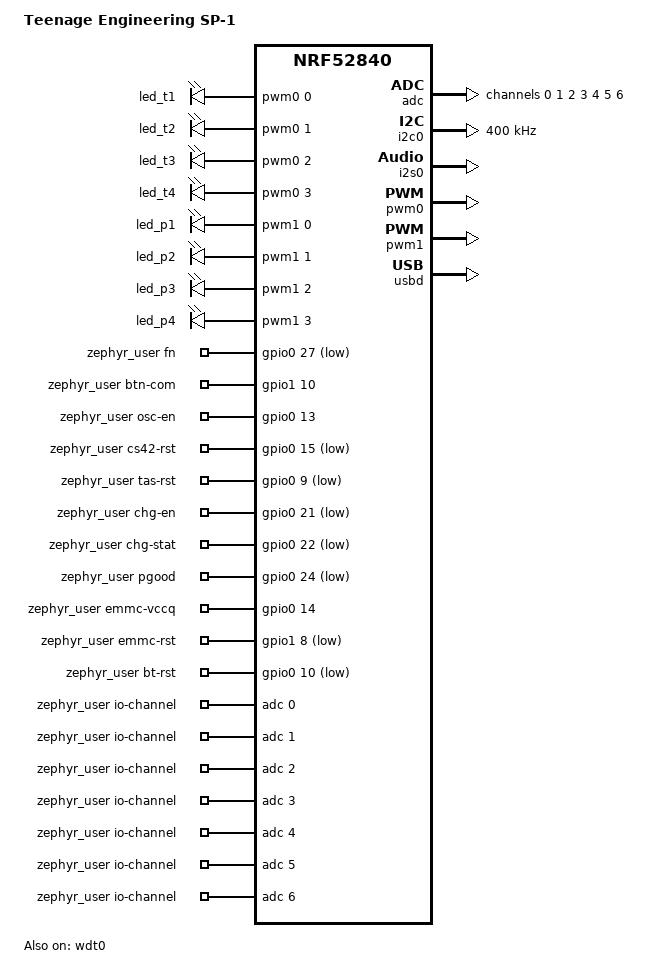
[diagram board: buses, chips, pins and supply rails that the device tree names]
/*
 * SPDX-License-Identifier: MIT
 *
 * Teenage Engineering SP-1 (stem player), nRF52840.
 *
 * Hardware facts from timknapen/SP-1-dev (pins, I2S/I2C, bootloader rules).
 * SAADC channel settings match the configuration under which the
 * sp1-tape-looper project measured the button ladder levels.
 */

/dts-v1/;
#include <nordic/nrf52840_qiaa.dtsi>
#include <zephyr/dt-bindings/adc/adc.h>
#include <zephyr/dt-bindings/adc/nrf-saadc.h>
#include <zephyr/dt-bindings/gpio/gpio.h>
#include <zephyr/dt-bindings/pwm/pwm.h>
#include "sp1-pinctrl.dtsi"

/ {
	model = "Teenage Engineering SP-1";
	compatible = "teenage-engineering,sp1";

	chosen {
		zephyr,sram = &sram0;
		zephyr,flash = &flash0;
		zephyr,code-partition = &slot0_partition;
	};

	aliases {
		watchdog0 = &wdt0;
	};

	/* 8 LEDs, all driven by the MCU. Index 0-3: track LEDs,
	 * 4-7: playback LEDs.
	 */
	leds: pwmleds {
		compatible = "pwm-leds";

		led_t1: led_t1 { pwms = <&pwm0 0 PWM_USEC(500) PWM_POLARITY_NORMAL>; };
		led_t2: led_t2 { pwms = <&pwm0 1 PWM_USEC(500) PWM_POLARITY_NORMAL>; };
		led_t3: led_t3 { pwms = <&pwm0 2 PWM_USEC(500) PWM_POLARITY_NORMAL>; };
		led_t4: led_t4 { pwms = <&pwm0 3 PWM_USEC(500) PWM_POLARITY_NORMAL>; };
		led_p1: led_p1 { pwms = <&pwm1 0 PWM_USEC(500) PWM_POLARITY_NORMAL>; };
		led_p2: led_p2 { pwms = <&pwm1 1 PWM_USEC(500) PWM_POLARITY_NORMAL>; };
		led_p3: led_p3 { pwms = <&pwm1 2 PWM_USEC(500) PWM_POLARITY_NORMAL>; };
		led_p4: led_p4 { pwms = <&pwm1 3 PWM_USEC(500) PWM_POLARITY_NORMAL>; };
	};

	zephyr_user: zephyr,user {
		/* Index order is relied on by the firmware (sp1_adc_ch). */
		io-channels = <&adc 0>, <&adc 1>, <&adc 2>, <&adc 3>,
			      <&adc 4>, <&adc 5>, <&adc 6>;

		/* FUNCTION button: the only button on a GPIO, low = pressed. */
		fn-gpios = <&gpio0 27 (GPIO_ACTIVE_LOW | GPIO_PULL_UP)>;
		/* Supply for the button ladders and faders. */
		btn-com-gpios = <&gpio1 10 GPIO_ACTIVE_HIGH>;
		/* 3.072 MHz audio oscillator enable. */
		osc-en-gpios = <&gpio0 13 GPIO_ACTIVE_HIGH>;
		cs42-rst-gpios = <&gpio0 15 GPIO_ACTIVE_LOW>;
		tas-rst-gpios = <&gpio0 9 GPIO_ACTIVE_LOW>;
		/* BQ24232: /CE (low = charging on), /CHG, /PGOOD (open drain). */
		chg-en-gpios = <&gpio0 21 GPIO_ACTIVE_LOW>;
		chg-stat-gpios = <&gpio0 22 (GPIO_ACTIVE_LOW | GPIO_PULL_UP)>;
		pgood-gpios = <&gpio0 24 (GPIO_ACTIVE_LOW | GPIO_PULL_UP)>;
		/* eMMC is unused in v1: keep its I/O rail off and it in reset. */
		emmc-vccq-gpios = <&gpio0 14 GPIO_ACTIVE_HIGH>;
		emmc-rst-gpios = <&gpio1 8 GPIO_ACTIVE_LOW>;
		/* CYBT-353027 Bluetooth module, held in reset in v1. */
		bt-rst-gpios = <&gpio0 10 GPIO_ACTIVE_LOW>;
	};
};

&uicr {
	/* P0.09 = TAS2505 reset, P0.10 = Bluetooth module reset. */
	nfct-pins-as-gpios;
};

&gpiote {
	status = "okay";
};

&gpio0 {
	status = "okay";
};

&gpio1 {
	status = "okay";
};

&adc {
	status = "okay";
	#address-cells = <1>;
	#size-cells = <0>;

	/* 0: ladder 1 - PLAY + track buttons */
	channel@0 {
		reg = <0>;
		zephyr,gain = "ADC_GAIN_1_6";
		zephyr,reference = "ADC_REF_INTERNAL";
		zephyr,acquisition-time = <ADC_ACQ_TIME(ADC_ACQ_TIME_MICROSECONDS, 20)>;
		zephyr,input-positive = <NRF_SAADC_AIN0>;
		zephyr,resolution = <12>;
	};

	/* 1: ladder 2 - volume up/down, forward/back */
	channel@1 {
		reg = <1>;
		zephyr,gain = "ADC_GAIN_1_6";
		zephyr,reference = "ADC_REF_INTERNAL";
		zephyr,acquisition-time = <ADC_ACQ_TIME(ADC_ACQ_TIME_MICROSECONDS, 20)>;
		zephyr,input-positive = <NRF_SAADC_AIN1>;
		zephyr,resolution = <12>;
	};

	/* 2-5: faders 1-4 */
	channel@2 {
		reg = <2>;
		zephyr,gain = "ADC_GAIN_1_6";
		zephyr,reference = "ADC_REF_INTERNAL";
		zephyr,acquisition-time = <ADC_ACQ_TIME(ADC_ACQ_TIME_MICROSECONDS, 20)>;
		zephyr,input-positive = <NRF_SAADC_AIN3>;
		zephyr,resolution = <12>;
	};

	channel@3 {
		reg = <3>;
		zephyr,gain = "ADC_GAIN_1_6";
		zephyr,reference = "ADC_REF_INTERNAL";
		zephyr,acquisition-time = <ADC_ACQ_TIME(ADC_ACQ_TIME_MICROSECONDS, 20)>;
		zephyr,input-positive = <NRF_SAADC_AIN6>;
		zephyr,resolution = <12>;
	};

	channel@4 {
		reg = <4>;
		zephyr,gain = "ADC_GAIN_1_6";
		zephyr,reference = "ADC_REF_INTERNAL";
		zephyr,acquisition-time = <ADC_ACQ_TIME(ADC_ACQ_TIME_MICROSECONDS, 20)>;
		zephyr,input-positive = <NRF_SAADC_AIN2>;
		zephyr,resolution = <12>;
	};

	channel@5 {
		reg = <5>;
		zephyr,gain = "ADC_GAIN_1_6";
		zephyr,reference = "ADC_REF_INTERNAL";
		zephyr,acquisition-time = <ADC_ACQ_TIME(ADC_ACQ_TIME_MICROSECONDS, 20)>;
		zephyr,input-positive = <NRF_SAADC_AIN7>;
		zephyr,resolution = <12>;
	};

	/* 6: battery voltage through a divider */
	channel@6 {
		reg = <6>;
		zephyr,gain = "ADC_GAIN_1_6";
		zephyr,reference = "ADC_REF_INTERNAL";
		zephyr,acquisition-time = <ADC_ACQ_TIME(ADC_ACQ_TIME_MICROSECONDS, 20)>;
		zephyr,input-positive = <NRF_SAADC_AIN4>;
		zephyr,resolution = <12>;
	};
};

/* CS42L42 at 0x48, TAS2505 at 0x18 */
&i2c0 {
	compatible = "nordic,nrf-twim";
	status = "okay";
	clock-frequency = <I2C_BITRATE_FAST>;
	pinctrl-0 = <&i2c0_default>;
	pinctrl-1 = <&i2c0_sleep>;
	pinctrl-names = "default", "sleep";
};

&i2s0 {
	status = "okay";
	pinctrl-0 = <&i2s0_default>;
	pinctrl-1 = <&i2s0_sleep>;
	pinctrl-names = "default", "sleep";
};

&pwm0 {
	status = "okay";
	pinctrl-0 = <&pwm0_default>;
	pinctrl-1 = <&pwm0_sleep>;
	pinctrl-names = "default", "sleep";
};

&pwm1 {
	status = "okay";
	pinctrl-0 = <&pwm1_default>;
	pinctrl-1 = <&pwm1_sleep>;
	pinctrl-names = "default", "sleep";
};

&wdt0 {
	status = "okay";
};

zephyr_udc0: &usbd {
	compatible = "nordic,nrf-usbd";
	status = "okay";
};

&flash0 {
	partitions {
		compatible = "fixed-partitions";
		#address-cells = <1>;
		#size-cells = <1>;

		/* Stock SP-1 bootloader: never touched by this firmware. */
		boot_partition: partition@0 {
			label = "bootloader";
			reg = <0x00000000 0x00020000>;
			read-only;
		};

		slot0_partition: partition@20000 {
			label = "image-0";
			reg = <0x00020000 0x000d7000>;
		};

		storage_partition: partition@f7000 {
			label = "storage";
			reg = <0x000f7000 0x00008000>;
		};

		/* Last page is reserved by the bootloader. */
		reserved_partition: partition@ff000 {
			label = "bootloader-reserved";
			reg = <0x000ff000 0x00001000>;
			read-only;
		};
	};
};
